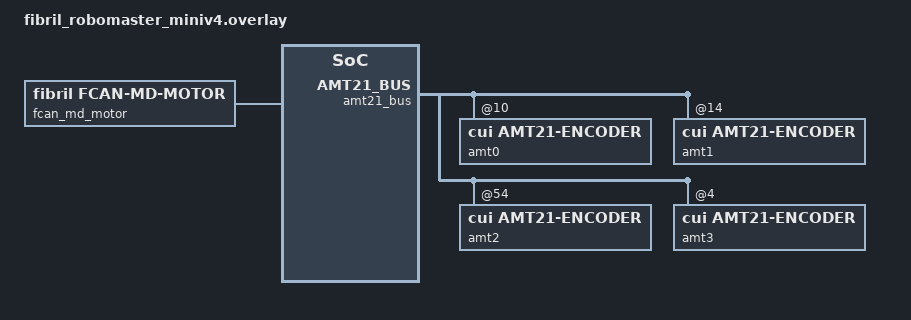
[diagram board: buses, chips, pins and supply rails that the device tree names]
/*
 * Copyright (c) 2026
 * SPDX-License-Identifier: Apache-2.0
 *
 * Four RoboMaster motors, each closed around an AMT21x absolute encoder on
 * the RS485 bus. The encoders are the four CanMotorMbed's robomaster_miniv4
 * build declared (0x10, 0x14, 0x54, 0x04, 14 bit, multi-turn), paired with
 * motors 1..4 in that order; CanMotorMbed itself never closed a loop around
 * them, so the pairing is this snippet's.
 *
 * The hardware comes from dts/fibril/robomaster_miniv4/; the encoders and the
 * pairing are said here. Only the encoders that are wired are listed: an
 * AMT21x that does not answer costs the bus time (see amt21.dtsi).
 */

#include <fibril/robomaster_miniv4/robomaster.dtsi>
#include <fibril/robomaster_miniv4/amt21.dtsi>

/* One node schema per image; see doc/apps.md. */
#ifdef FIBRIL_CLAIM_NODE_ROLE
#error "NODE_ROLE claimed twice; miniv4-md-amt4 is one claimant"
#endif
#define FIBRIL_CLAIM_NODE_ROLE 1

#ifdef FIBRIL_CLAIM_FCAN_MD_MOTOR
#error "FCAN_MD_MOTOR claimed twice; miniv4-md-amt4 is one claimant"
#endif
#define FIBRIL_CLAIM_FCAN_MD_MOTOR 1

/* Multi-turn, so the position survives more than one shaft turn after power
 * up. Only a single-turn AMT21x can store a zero point; a robot that fits
 * those drops `multiturn` here. */
&amt21_bus {
    amt0: encoder@10 {
        compatible = "cui,amt21-encoder";
        reg = <0x10>;
        resolution = <14>;
        multiturn;
    };

    amt1: encoder@14 {
        compatible = "cui,amt21-encoder";
        reg = <0x14>;
        resolution = <14>;
        multiturn;
    };

    amt2: encoder@54 {
        compatible = "cui,amt21-encoder";
        reg = <0x54>;
        resolution = <14>;
        multiturn;
    };

    amt3: encoder@4 {
        compatible = "cui,amt21-encoder";
        reg = <0x04>;
        resolution = <14>;
        multiturn;
    };
};

/ {
    fcan_md_motor: fcan-md-motor {
        compatible = "fibril,fcan-md-motor";

        /* Becomes motor0..motor3 on the ROS side, the names
         * can_md_controller used. */
        fcan-ns = "motor{i}";

        motors = <&rm_motor1>, <&rm_motor2>, <&rm_motor3>, <&rm_motor4>;
        encoders = <&amt0>, <&amt1>, <&amt2>, <&amt3>;
        status = "okay";
    };
};
